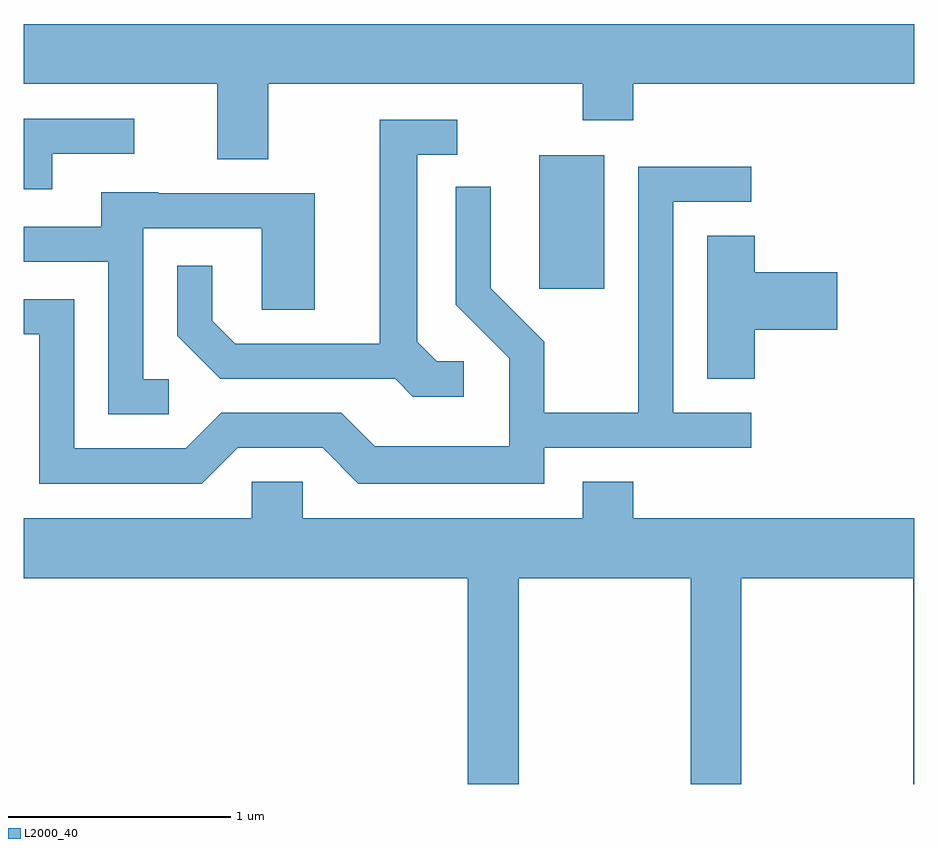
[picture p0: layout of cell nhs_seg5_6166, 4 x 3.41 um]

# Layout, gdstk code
import gdstk
lib = gdstk.Library(unit=1e-6, precision=1e-09)
def R(c, l, rs):  # rectangles x0, y0, x1, y1
    for r in rs: c.add(gdstk.rectangle(r[:2], r[2:], *l))
def P(c, l, *ps):  # polygons
    for p in ps: c.add(gdstk.Polygon(p, *l))
L2000_40 = (2000, 40)

nhs_seg5_6166 = lib.new_cell('nhs_seg5_6166')
R(nhs_seg5_6166, L2000_40, [(369.926,1480.296,370.219,1480.894)])
P(nhs_seg5_6166, L2000_40, [(368.709,1481.216),(370.121,1481.216),(370.121,1481.051),(370.349,1481.051),(370.349,1481.216),(371.611,1481.216),(371.611,1481.484),(367.611,1481.484),(367.611,1481.216),(368.481,1481.216),(368.481,1480.876),(368.709,1480.876)],
  [(367.739,1480.901),(368.108,1480.901),(368.108,1481.059),(367.611,1481.059),(367.611,1480.741),(367.739,1480.741)],
  [(369.588,1479.969),(369.467,1479.969),(369.379,1480.057),(369.379,1480.896),(369.558,1480.896),(369.558,1481.054),(369.211,1481.054),(369.211,1480.049),(368.562,1480.049),(368.459,1480.152),(368.459,1480.398),(368.301,1480.398),(368.301,1480.084),(368.494,1479.891),(369.279,1479.891),(369.359,1479.811),(369.588,1479.811)],
  [(368.572,1479.581),(368.954,1479.581),(369.114,1479.421),(369.949,1479.421),(369.949,1479.581),(370.878,1479.581),(370.878,1479.739),(370.529,1479.739),(370.529,1480.686),(370.878,1480.686),(370.878,1480.844),(370.371,1480.844),(370.371,1479.739),(369.949,1479.739),(369.949,1480.057),(369.709,1480.297),(369.709,1480.753),(369.551,1480.753),(369.551,1480.224),(369.791,1479.984),(369.791,1479.589),(369.187,1479.589),(369.037,1479.739),(368.499,1479.739),(368.339,1479.579),(367.839,1479.579),(367.839,1480.249),(367.611,1480.249),(367.611,1480.091),(367.681,1480.091),(367.681,1479.421),(368.412,1479.421)],
  [(368.263,1479.889),(368.149,1479.889),(368.149,1480.566),(368.681,1480.566),(368.681,1480.201),(368.919,1480.201),(368.919,1480.724),(368.215,1480.724),(368.215,1480.729),(367.961,1480.729),(367.961,1480.574),(367.611,1480.574),(367.611,1480.416),(367.991,1480.416),(367.991,1479.731),(368.263,1479.731)],
  [(370.894,1480.111),(371.264,1480.111),(371.264,1480.369),(370.894,1480.369),(370.894,1480.534),(370.681,1480.534),(370.681,1479.891),(370.894,1479.891)],
  [(369.834,1478.996),(370.606,1478.996),(370.606,1478.072),(370.834,1478.072),(370.834,1478.996),(371.606,1478.996),(371.606,1478.072),(371.611,1478.072),(371.611,1479.264),(370.349,1479.264),(370.349,1479.429),(370.121,1479.429),(370.121,1479.264),(368.864,1479.264),(368.864,1479.429),(368.636,1479.429),(368.636,1479.264),(367.611,1479.264),(367.611,1478.996),(369.606,1478.996),(369.606,1478.072),(369.834,1478.072)])

lib.write_gds('nhs_seg5_6166.gds')
